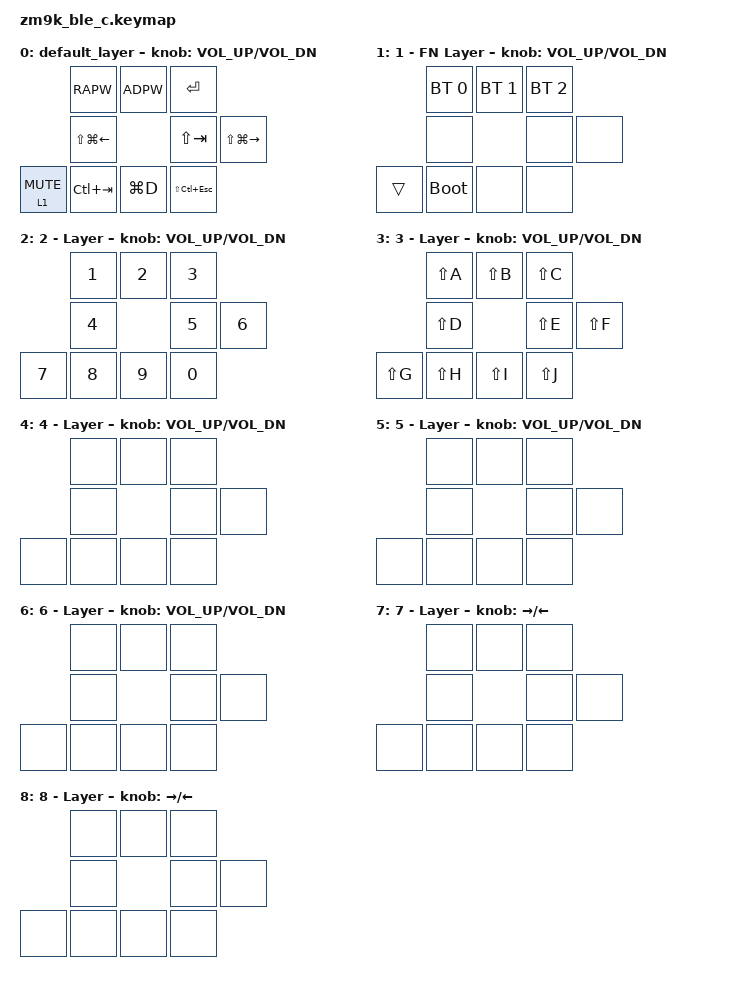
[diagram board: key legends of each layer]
#include <behaviors.dtsi>				 
#include <dt-bindings/zmk/bt.h>
#include <dt-bindings/zmk/keys.h>

/ {
    behaviors {
        mo_sl: Hold-MOLayer_Tap-SlLayer{
            compatible = "zmk,behavior-hold-tap";
            #binding-cells = <2>;
            flavor = "hold-preferred";
            tapping-term-ms = <200>;
            bindings = <&mo>, <&sl>;
        };

        // ble_s: ble_select{
        //     compatible = "zmk,behavior-hold-tap";
        //     #binding-cells = <2>;
        //     flavor = "hold-preferred";
        //     tapping-term-ms = <200>;
        //     bindings = <&bt 5>, <&bt 5>;
        // };
    };

    macros {
        RAPW: RAPW {
            compatible = "zmk,behavior-macro";
            #binding-cells = <0>;
            bindings = <&kp LS(S) &kp T &kp O &kp P &kp P &kp A &kp G &kp E &kp STAR &kp LS(S) &kp U &kp B &kp M &kp E &kp R &kp S &kp E &kp D &kp STAR &kp LS(P) &kp A &kp N &kp H &kp A &kp N &kp D &kp L &kp E &kp N5>;
            label = "RAPW";
        };

        ADPW: ADPW {
            compatible = "zmk,behavior-macro";
            #binding-cells = <0>;
            bindings = <&none &kp LS(B) &kp L &kp I &kp N &kp K &kp S &kp STAR &kp LS(S) &kp E &kp P &kp T &kp E &kp M &kp B &kp E &kp R &kp STAR &kp LS(V) &kp E &kp N &kp T &kp R &kp I &kp C &kp L &kp E &kp N3>;
            label = "ADPW";
        };
    };

    keymap {
        compatible = "zmk,keymap";

        default_layer {
            bindings = <
              &RAPW  &ADPW  &kp RET
              &kp LS(LG(LEFT_ARROW))   &kp LS(TAB)  &kp LS(LG(RIGHT_ARROW))
&lt 1 C_MUTE  &kp LC(TAB)   &kp LG(D)   &kp LS(LC(ESC))
            >;

            sensor-bindings = <&inc_dec_kp C_VOL_UP C_VOL_DN>;
        };

        fn_layer {
            display-name = "1 - FN Layer";
            bindings = <
        &bt BT_SEL 0  &bt BT_SEL 1  &bt BT_SEL 2
        &none         &none         &none
&trans  &bootloader         &none         &none
            >;

            sensor-bindings = <&inc_dec_kp C_VOL_UP C_VOL_DN>;
        };

        2layer {

        display-name = "2 - Layer";
        bindings = <
                              &kp 1        &kp 2         &kp 3 
                              &kp 4        &kp 5         &kp 6
                &kp 7         &kp 8        &kp 9         &kp 0
        >;

        sensor-bindings = <&inc_dec_kp C_VOL_UP C_VOL_DN>;
    };

    3layer {

    display-name = "3 - Layer";
    bindings = <
                              &kp LS(A)        &kp LS(B)         &kp LS(C) 
                              &kp LS(D)        &kp LS(E)         &kp LS(F)
                &kp LS(G)     &kp LS(H)        &kp LS(I)         &kp LS(J)
    >;

    sensor-bindings = <&inc_dec_kp C_VOL_UP C_VOL_DN>;
};

	4layer {

	   
    display-name = "4 - Layer";
    bindings = <
                              &none        &none         &none
                              &none        &none         &none
                &none         &none        &none         &none
    >;

    sensor-bindings = <&inc_dec_kp C_VOL_UP C_VOL_DN>;
};

	5layer {

	   
    display-name = "5 - Layer";
    bindings = <
                              &none        &none         &none
                              &none        &none         &none
                &none         &none        &none         &none
    >;

    sensor-bindings = <&inc_dec_kp C_VOL_UP C_VOL_DN>;
};

	6layer {

	   
    display-name = "6 - Layer";
    bindings = <
                              &none        &none         &none
                              &none        &none         &none
                &none         &none        &none         &none
    >;

    sensor-bindings = <&inc_dec_kp C_VOL_UP C_VOL_DN>;
};

	7layer {

	   
    display-name = "7 - Layer";
    bindings = <
                              &none        &none         &none
                              &none        &none         &none
                &none         &none        &none         &none
    >;

    sensor-bindings = <&inc_dec_kp RIGHT LEFT>;
};

	8layer {

	   
    display-name = "8 - Layer";
    bindings = <
                              &none        &none         &none
                              &none        &none         &none
                &none         &none        &none         &none
    >;

    sensor-bindings = <&inc_dec_kp RIGHT LEFT>;
		};

	};
};
